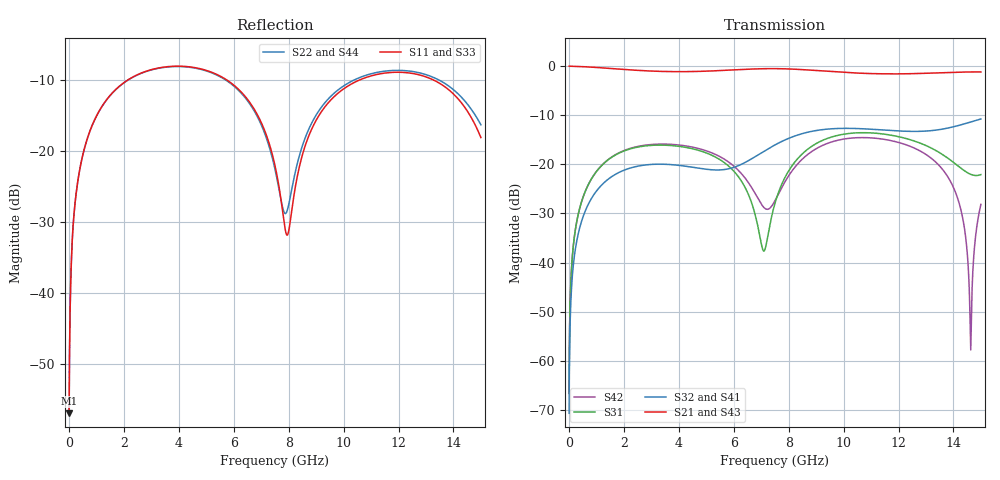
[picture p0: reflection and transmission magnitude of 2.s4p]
! Created with skrf 1.8.0 (http://scikit-rf.org).
# GHz S RI R 50.0
!freq ReS11 ImS11 ReS12 ImS12 ReS13 ImS13
! ReS14 ImS14
! ReS21 ImS21 ReS22 ImS22 ReS23 ImS23
! ReS24 ImS24
! ReS31 ImS31 ReS32 ImS32 ReS33 ImS33
! ReS34 ImS34
! ReS41 ImS41 ReS42 ImS42 ReS43 ImS43
! ReS44 ImS44
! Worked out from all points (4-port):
!   2499 points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, 5 MHz to 15 GHz, reference 50 ohm
!   strongest paths, dB at 5 MHz, 3.476 GHz, 7.19 GHz, 11.1 GHz, 15 GHz:
!     S21: 0.0, -1.1, -0.5, -1.5, -1.2
!     S43: 0.0, -1.1, -0.5, -1.5, -1.2
!     S32: -70.7, -20.0, -17.0, -12.9, -10.8
!     S41: -70.7, -20.0, -17.0, -13.0, -10.8
!     S31: -66.6, -16.1, -36.1, -13.6, -22.1
!     S42: -66.6, -15.9, -29.1, -14.7, -28.2
!   lowest |S11| = -56.9 dB at 5 MHz (marker M1), VSWR 1.00, Z = 50.1 + j0.0866 ohm
!   |S11| at or under -10 dB: start of sweep to 2.152 GHz; 5.739 GHz to 10.59 GHz (4.854 GHz wide, 59.4 % of centre); 13.26 GHz to end of sweep
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0.005  0.00114 0.000864  0.9988 -0.00222  5.62e-05 0.000462  -5.46e-05 -0.000287
       0.9988 -0.00222  0.00114 0.000864  -5.46e-05 -0.000287  5.63e-05 0.000462
       5.62e-05 0.000462  -5.46e-05 -0.000287  0.00114 0.000865  0.9988 -0.00222
       -5.46e-05 -0.000287  5.63e-05 0.000462  0.9988 -0.00222  0.00114 0.000865
0.4126719  0.0198 0.0751  0.9727 -0.1822  0.00922 0.0365  -0.00778 -0.0225
           0.9727 -0.1822  0.0197 0.0751  -0.00779 -0.0225  0.00959 0.0364
           0.00922 0.0365  -0.00779 -0.0225  0.0198 0.0751  0.9727 -0.1822
           -0.00778 -0.0225  0.00959 0.0364  0.9727 -0.1822  0.0197 0.0751
2.075865  0.247 0.186  0.5981 -0.7013  0.1189 0.0724  -0.0874 -0.0141
          0.5981 -0.7013  0.2452 0.1871  -0.0876 -0.0139  0.1242 0.066
          0.1189 0.0724  -0.0876 -0.0139  0.2469 0.1861  0.5982 -0.7012
          -0.0874 -0.0141  0.1242 0.066  0.5982 -0.7012  0.2453 0.187
7.99083  0.0263 0.00535  -0.9359 -0.0211  0.0341 0.0778  -0.000523 0.1833
         -0.9359 -0.0211  0.038 0.0154  0.00367 0.1834  -0.0166 0.0739
         0.0341 0.0778  0.00367 0.1834  0.025 0.0063  -0.9359 -0.0209
         -0.000523 0.1833  -0.0166 0.0739  -0.9359 -0.0209  0.039 0.0169
13.08045  0.3055 -0.1174  0.2596 0.8062  0.0768 -0.1309  0.1884 -0.1052
          0.2596 0.8062  0.3168 -0.1235  0.1854 -0.1166  0.0929 -0.0787
          0.0768 -0.1309  0.1854 -0.1166  0.3088 -0.1095  0.2581 0.806
          0.1884 -0.1052  0.0929 -0.0787  0.2581 0.806  0.318 -0.131
14.62484  0.124 -0.1236  0.6977 0.5238  -0.0641 -0.0465  0.162 -0.2152
          0.6977 0.5238  0.1405 -0.1416  0.1496 -0.2243  -0.00115 -0.000598
          -0.0641 -0.0465  0.1496 -0.2243  0.1338 -0.1206  0.6957 0.5255
          0.162 -0.2152  -0.00115 -0.000598  0.6957 0.5255  0.1366 -0.1489
15  0.0897 -0.0861  0.7711 0.4072  -0.0786 0.000394  0.1402 -0.2539
    0.7711 0.4072  0.1055 -0.1107  0.1257 -0.261  -0.00252 0.039
    -0.0786 0.000394  0.1257 -0.261  0.1002 -0.0857  0.7693 0.4096
    0.1402 -0.2539  -0.00252 0.039  0.7693 0.4096  0.1006 -0.1171
